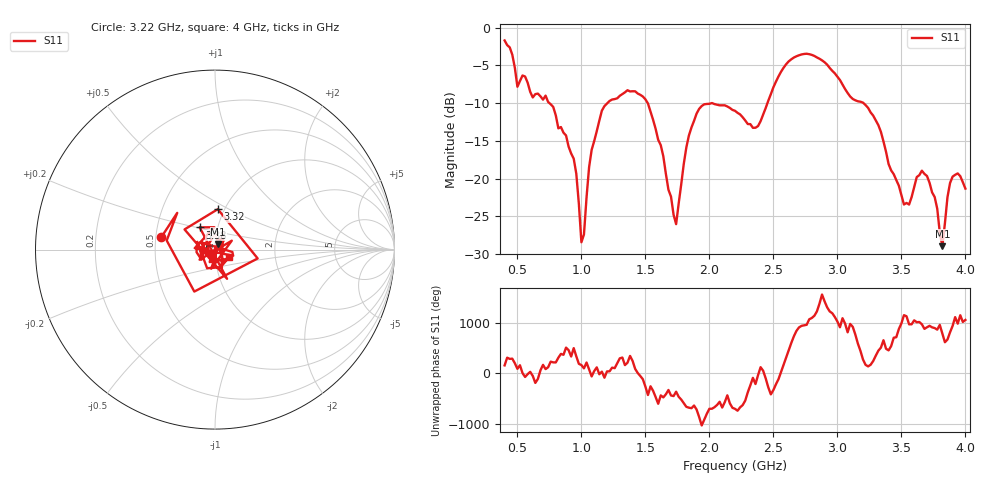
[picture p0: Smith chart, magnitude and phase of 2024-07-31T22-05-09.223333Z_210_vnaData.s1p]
!Created with skrf (http://scikit-rf.org).
# Hz S RI R 50.0
!freq ReS11 ImS11
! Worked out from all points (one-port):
!   181 points, 400 MHz to 4 GHz, reference 50 ohm
!   lowest |S11| = -29.0 dB at 3.82 GHz (marker M1), VSWR 1.07, Z = 51.7 + j3.21 ohm
!   |S11| at or under -10 dB: 749.4 MHz to 1.204 GHz (454.8 MHz wide, 46.6 % of centre); 1.518 GHz to 2.454 GHz (935.9 MHz wide, 47.1 % of centre); 3.203 GHz to end of sweep
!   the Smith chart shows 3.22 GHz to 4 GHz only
!   S11 on the Smith chart (normalised r, x): 3.22 GHz: 0.54, +0.08; 3.32 GHz: 0.93, +0.44; 3.38 GHz: 0.82, +0.21; 4 GHz: 1.16, -0.09
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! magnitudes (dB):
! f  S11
! 400 MHz  -1.7
! 500 MHz  -7.8
! 720 MHz  -9.0
! 860 MHz  -13.9
! 960 MHz  -19.3
! 1 GHz  -28.4
! 1.02 GHz  -27.4
! 1.08 GHz  -16.2
! 1.16 GHz  -11.0
! 1.3 GHz  -9.0
! 1.52 GHz  -10.1
! 1.74 GHz  -26.0
! 1.76 GHz  -23.3
! 1.84 GHz  -14.3
! 1.92 GHz  -10.8
! 2.2 GHz  -11.0
! 2.38 GHz  -13.1
! 2.66 GHz  -4.0
! 2.88 GHz  -4.3
! 3.1 GHz  -9.1
! 3.22 GHz  -10.3
! 3.32 GHz  -12.9
! 3.38 GHz  -16.5
! 3.56 GHz  -23.4
! 3.7 GHz  -19.7
! 3.82 GHz  -29.0
! 3.9 GHz  -19.7
! 4 GHz  -21.3
